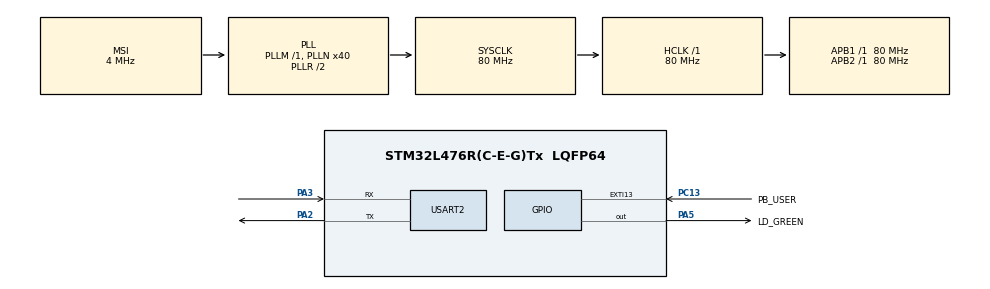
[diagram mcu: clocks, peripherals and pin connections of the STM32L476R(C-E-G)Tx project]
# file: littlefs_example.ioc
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Mcu.Family=STM32L4
Mcu.Name=STM32L476R(C-E-G)Tx
Mcu.Package=LQFP64
NVIC.EXTI15_10_IRQn=true\:0\:0\:false\:false\:true\:true\:true\:true
NVIC.PriorityGroup=NVIC_PRIORITYGROUP_4
PA2.Mode=Asynchronous
PA2.Signal=USART2_TX
PA3.Mode=Asynchronous
PA3.Signal=USART2_RX
PA5.GPIO_Label=LD_GREEN
PA5.Signal=GPIO_Output
PC13.GPIO_Label=PB_USER
PC13.Signal=GPXTI13
PH0-OSC_IN\ (PH0).Mode=HSE-External-Oscillator
PH0-OSC_IN\ (PH0).Signal=RCC_OSC_IN
PH1-OSC_OUT\ (PH1).Mode=HSE-External-Oscillator
PH1-OSC_OUT\ (PH1).Signal=RCC_OSC_OUT
ProjectManager.HeapSize=0x200
ProjectManager.StackSize=0x400
ProjectManager.TargetToolchain=CMake
RCC.AHBFreq_Value=80000000
RCC.APB1Freq_Value=80000000
RCC.APB1TimFreq_Value=80000000
RCC.APB2Freq_Value=80000000
RCC.APB2TimFreq_Value=80000000
RCC.CortexFreq_Value=80000000
RCC.HCLKFreq_Value=80000000
RCC.HSE_VALUE=8000000
RCC.HSI_VALUE=16000000
RCC.LSE_VALUE=32768
RCC.MSI_VALUE=4000000
RCC.PLLN=40
RCC.SYSCLKFreq_VALUE=80000000
RCC.SYSCLKSource=RCC_SYSCLKSOURCE_PLLCLK
RCC.VCOOutputFreq_Value=160000000
USART2.VirtualMode-Asynchronous=VM_ASYNC
board=custom

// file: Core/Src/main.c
/* USER CODE BEGIN Header */
/**
  ******************************************************************************
  * @file           : main.c
  * @brief          : Main program body
  ******************************************************************************
  * @attention
  *
  * Copyright (c) 2024 STMicroelectronics.
  * All rights reserved.
  *
  * This software is licensed under terms that can be found in the LICENSE file
  * in the root directory of this software component.
  * If no LICENSE file comes with this software, it is provided AS-IS.
  *
  ******************************************************************************
  */
/* USER CODE END Header */
#include "main.h"

/* USER CODE BEGIN Includes */
#include <stdio.h>
#include "lfs.h"
/* USER CODE END Includes */

/* USER CODE BEGIN PD */
#define LITTLEFS_SECTOR_START 0x08040000
#define STM32L476_SECTOR_SIZE 0x800 //(2048 bytes)

#define FLASH_START_ADDRESS 0x08000000
#define FLASH_END_ADDRESS   0x08100000
#define PAGE_SIZE           2048

// Constants defined by the TRM, section 3.3.1
#define FLASH_BLOCK_SIZE 2048  // Flash block size in bytes
#define FLASH_MAX_BLOCKS 512   // Total number of available blocks

// Tunable constants
#define LFS_BLOCKS 9     // Number of blocks to use
#define LFS_BUF_SIZE 64  // Buffer size used for reads, writes, and cache
#define LFS_MAX_FDS 6    // Maximum number of opened files / dirs

#define PARAMETER_NOT_USED(p) (void) ((p))
/* USER CODE END PD */

UART_HandleTypeDef huart2;

/* USER CODE BEGIN PV */
// variables used by the filesystem
lfs_t lfs;
lfs_file_t file;
/* USER CODE END PV */

void SystemClock_Config(void);
static void MX_GPIO_Init(void);
static void MX_USART2_UART_Init(void);
/* USER CODE BEGIN PFP */
int getFlashPageNumber(uint32_t address);
void hexdump(const void *buffer, size_t length);

#define PUTCHAR_PROTOTYPE int __io_putchar(int ch)

int lfs_driver_read(const struct lfs_config *cfg, lfs_block_t block,
                           lfs_off_t off, void *buf, lfs_size_t len);
int lfs_driver_prog(const struct lfs_config *cfg, lfs_block_t block,
                           lfs_off_t off, const void *buf, lfs_size_t len);
int lfs_driver_erase(const struct lfs_config *cfg, lfs_block_t block);
int lfs_driver_sync(const struct lfs_config *cfg);

/* USER CODE END PFP */

/* USER CODE BEGIN 0 */
void HAL_GPIO_EXTI_Callback(uint16_t GPIO_Pin)
{
  /* Prevent unused argument(s) compilation warning */
  if(GPIO_Pin == PB_USER_Pin)
    printf("Button Pressed.\r\n");

  /* NOTE: This function should not be modified, when the callback is needed,
           the HAL_GPIO_EXTI_Callback could be implemented in the user file
   */
}

/**
 * @brief Dumps the contents of a buffer in hexadecimal format.
 *
 * @param buffer Pointer to the buffer to be dumped.
 * @param length Length of the buffer in bytes.
 */
void hexdump(const void *buffer, size_t length) {
    const unsigned char *buf = (const unsigned char *)buffer;

    for (size_t i = 0; i < length; i += 16) {
        // Print the offset
        printf("%08zx  ", i);

        // Print hex values for the next 16 bytes
        for (size_t j = 0; j < 16; j++) {
            if (i + j < length) {
                printf("%02x ", buf[i + j]);
            } else {
                printf("   "); // For alignment of the ASCII section
            }
        }

        // Print ASCII characters for the next 16 bytes
        printf(" |");
        for (size_t j = 0; j < 16; j++) {
            if (i + j < length) {
                unsigned char c = buf[i + j];
                // Check if the byte is a printable character
                if (c >= 32 && c <= 126) {
                    printf("%c", c);
                } else {
                    printf("."); // Non-printable characters are replaced with '.'
                }
            }
        }
        printf("|\n");
    }
}

/**
 * @brief Calculate the flash page number for a given address.
 *
 * @param address The address to calculate the page number for.
 * @return The page number corresponding to the address, or -1 if the address is out of range.
 */
int getFlashPageNumber(uint32_t address) {
    // Check if the address is within the valid flash range
    if (address < FLASH_START_ADDRESS || address >= FLASH_END_ADDRESS) {
        return -1; // Invalid address
    }

    // Calculate the page number
    int pageNumber = (address - FLASH_START_ADDRESS) / PAGE_SIZE;

    return pageNumber;
}

// configuration of the filesystem is provided by this struct
const struct lfs_config cfg = {
    // block device operations
    .read  = lfs_driver_read,
    .prog  = lfs_driver_prog,
    .erase = lfs_driver_erase,
    .sync  = lfs_driver_sync,

    // block device configuration
    .read_size = LFS_BUF_SIZE,
    .prog_size = LFS_BUF_SIZE,
    .block_size = FLASH_BLOCK_SIZE,
    .block_count = LFS_BLOCKS,
    .cache_size = LFS_BUF_SIZE,
    .lookahead_size = LFS_BUF_SIZE/2,
    .block_cycles = 200,
};
/* USER CODE END 0 */

int main(void)
{

  /* MCU Configuration--------------------------------------------------------*/

  /* Reset of all peripherals, Initializes the Flash interface and the Systick. */
  HAL_Init();

  /* Configure the system clock */
  SystemClock_Config();

  /* Initialize all configured peripherals */
  MX_GPIO_Init();
  MX_USART2_UART_Init();
  /* USER CODE BEGIN 2 */
  printf("---LittleFS Example---\r\n");

  // mount the filesystem
  int err = lfs_mount(&lfs, &cfg);

  // reformat if we can't mount the filesystem
  // this should only happen on the first boot
  if (err) {
      lfs_format(&lfs, &cfg);
      lfs_mount(&lfs, &cfg);
  }

  // read current count
  uint32_t boot_count = 0;
  lfs_file_open(&lfs, &file, "boot_count", LFS_O_RDWR | LFS_O_CREAT);
  lfs_file_read(&lfs, &file, &boot_count, sizeof(boot_count));

  // update boot count
  boot_count += 1;
  lfs_file_rewind(&lfs, &file);
  lfs_file_write(&lfs, &file, &boot_count, sizeof(boot_count));

  // remember the storage is not updated until the file is closed successfully
  lfs_file_close(&lfs, &file);

  // release any resources we were using
  lfs_unmount(&lfs);

  // print the boot count
  printf("boot_count: %ld\r\n", boot_count);
  /* USER CODE END 2 */

  /* Infinite loop */
  /* USER CODE BEGIN WHILE */
  while (1)
  {
    HAL_GPIO_TogglePin(LD_GREEN_GPIO_Port,LD_GREEN_Pin);
    HAL_Delay(500);
    /* USER CODE END WHILE */

  }
}

void SystemClock_Config(void)
{
  RCC_OscInitTypeDef RCC_OscInitStruct = {0};
  RCC_ClkInitTypeDef RCC_ClkInitStruct = {0};

  /** Configure the main internal regulator output voltage
  */
  if (HAL_PWREx_ControlVoltageScaling(PWR_REGULATOR_VOLTAGE_SCALE1) != HAL_OK)
  {
    Error_Handler();
  }

  /** Initializes the RCC Oscillators according to the specified parameters
  * in the RCC_OscInitTypeDef structure.
  */
  RCC_OscInitStruct.OscillatorType = RCC_OSCILLATORTYPE_MSI;
  RCC_OscInitStruct.MSIState = RCC_MSI_ON;
  RCC_OscInitStruct.MSICalibrationValue = 0;
  RCC_OscInitStruct.MSIClockRange = RCC_MSIRANGE_6;
  RCC_OscInitStruct.PLL.PLLState = RCC_PLL_ON;
  RCC_OscInitStruct.PLL.PLLSource = RCC_PLLSOURCE_MSI;
  RCC_OscInitStruct.PLL.PLLM = 1;
  RCC_OscInitStruct.PLL.PLLN = 40;
  RCC_OscInitStruct.PLL.PLLP = RCC_PLLP_DIV7;
  RCC_OscInitStruct.PLL.PLLQ = RCC_PLLQ_DIV2;
  RCC_OscInitStruct.PLL.PLLR = RCC_PLLR_DIV2;
  if (HAL_RCC_OscConfig(&RCC_OscInitStruct) != HAL_OK)
  {
    Error_Handler();
  }

  /** Initializes the CPU, AHB and APB buses clocks
  */
  RCC_ClkInitStruct.ClockType = RCC_CLOCKTYPE_HCLK|RCC_CLOCKTYPE_SYSCLK
                              |RCC_CLOCKTYPE_PCLK1|RCC_CLOCKTYPE_PCLK2;
  RCC_ClkInitStruct.SYSCLKSource = RCC_SYSCLKSOURCE_PLLCLK;
  RCC_ClkInitStruct.AHBCLKDivider = RCC_SYSCLK_DIV1;
  RCC_ClkInitStruct.APB1CLKDivider = RCC_HCLK_DIV1;
  RCC_ClkInitStruct.APB2CLKDivider = RCC_HCLK_DIV1;

  if (HAL_RCC_ClockConfig(&RCC_ClkInitStruct, FLASH_LATENCY_4) != HAL_OK)
  {
    Error_Handler();
  }
}

static void MX_USART2_UART_Init(void)
{

  huart2.Instance = USART2;
  huart2.Init.BaudRate = 115200;
  huart2.Init.WordLength = UART_WORDLENGTH_8B;
  huart2.Init.StopBits = UART_STOPBITS_1;
  huart2.Init.Parity = UART_PARITY_NONE;
  huart2.Init.Mode = UART_MODE_TX_RX;
  huart2.Init.HwFlowCtl = UART_HWCONTROL_NONE;
  huart2.Init.OverSampling = UART_OVERSAMPLING_16;
  huart2.Init.OneBitSampling = UART_ONE_BIT_SAMPLE_DISABLE;
  huart2.AdvancedInit.AdvFeatureInit = UART_ADVFEATURE_NO_INIT;
  if (HAL_UART_Init(&huart2) != HAL_OK)
  {
    Error_Handler();
  }

}

static void MX_GPIO_Init(void)
{
  GPIO_InitTypeDef GPIO_InitStruct = {0};

  /* GPIO Ports Clock Enable */
  __HAL_RCC_GPIOC_CLK_ENABLE();
  __HAL_RCC_GPIOH_CLK_ENABLE();
  __HAL_RCC_GPIOA_CLK_ENABLE();

  /*Configure GPIO pin Output Level */
  HAL_GPIO_WritePin(LD_GREEN_GPIO_Port, LD_GREEN_Pin, GPIO_PIN_RESET);

  /*Configure GPIO pin : PB_USER_Pin */
  GPIO_InitStruct.Pin = PB_USER_Pin;
  GPIO_InitStruct.Mode = GPIO_MODE_IT_RISING;
  GPIO_InitStruct.Pull = GPIO_NOPULL;
  HAL_GPIO_Init(PB_USER_GPIO_Port, &GPIO_InitStruct);

  /*Configure GPIO pin : LD_GREEN_Pin */
  GPIO_InitStruct.Pin = LD_GREEN_Pin;
  GPIO_InitStruct.Mode = GPIO_MODE_OUTPUT_PP;
  GPIO_InitStruct.Pull = GPIO_NOPULL;
  GPIO_InitStruct.Speed = GPIO_SPEED_FREQ_LOW;
  HAL_GPIO_Init(LD_GREEN_GPIO_Port, &GPIO_InitStruct);

  /* EXTI interrupt init*/
  HAL_NVIC_SetPriority(EXTI15_10_IRQn, 0, 0);
  HAL_NVIC_EnableIRQ(EXTI15_10_IRQn);

}

/* USER CODE BEGIN 4 */
int lfs_driver_read(const struct lfs_config *cfg, lfs_block_t block,
                           lfs_off_t off, void *buf, lfs_size_t len) {
	PARAMETER_NOT_USED(cfg);

	if(!buf || !len) {
		printf("%s Invalid parameter!\r\n",__func__);
		return LFS_ERR_INVAL;
	}

	lfs_block_t address = LITTLEFS_SECTOR_START + (block * STM32L476_SECTOR_SIZE + off);
	//printf("+%s(Addr 0x%06lX, Len 0x%04lX)\r\n",__func__,address,len);
	//hexdump((void *)address,len);
	memcpy(buf, (void *)address, len);

	return LFS_ERR_OK;
}

int lfs_driver_prog(const struct lfs_config *cfg, lfs_block_t block,
                           lfs_off_t off, const void *buf, lfs_size_t len) {
	PARAMETER_NOT_USED(cfg);
	lfs_block_t address = LITTLEFS_SECTOR_START + (block * STM32L476_SECTOR_SIZE + off);
	HAL_StatusTypeDef hal_rc = HAL_OK;
	uint32_t block_count = len / 8;

	//printf("+%s(Addr 0x%06lX, Len 0x%04lX)\r\n",__func__,address,len);
	//hexdump((void *)address,len);
  /* Program the user Flash area word by word
  (area defined by FLASH_USER_START_ADDR and FLASH_USER_END_ADDR) ***********/
  HAL_FLASH_Unlock();

  uint64_t data_source;

  for(uint32_t i=0;i<block_count;i++)
  {
    memcpy(&data_source,buf,8); // load the 64-bit source from the buffer
    hal_rc = HAL_FLASH_Program(FLASH_TYPEPROGRAM_DOUBLEWORD, address, data_source);
    if (hal_rc == HAL_OK)
    {
      address += 8;
      buf = (uint8_t *)buf + 8;
    }
    else
    {
      /* Error occurred while writing data in Flash memory.
        User can add here some code to deal with this error */
      printf("Program Error, 0x%X\r\n",hal_rc);

    } // else
  } // for
  //printf("-%s\n",__func__);

  HAL_FLASH_Lock();
  return hal_rc == HAL_OK?LFS_ERR_OK:LFS_ERR_IO; // If HAL_OK, return LFS_ERR_OK, else return LFS_ERR_IO
}

int lfs_driver_erase(const struct lfs_config *cfg, lfs_block_t block) {
	PARAMETER_NOT_USED(cfg);
	lfs_block_t address = LITTLEFS_SECTOR_START + (block * STM32L476_SECTOR_SIZE);
	//printf("+%s(Addr 0x%06lX)\r\n",__func__,address);

	HAL_StatusTypeDef hal_rc;
	FLASH_EraseInitTypeDef EraseInitStruct;
	uint32_t PAGEError = 0;

  HAL_FLASH_Unlock();

	/* Fill EraseInit structure*/
	EraseInitStruct.TypeErase   = FLASH_TYPEERASE_PAGES;
	EraseInitStruct.Page = getFlashPageNumber(address);
	EraseInitStruct.NbPages     = 1;
	hal_rc = HAL_FLASHEx_Erase(&EraseInitStruct, &PAGEError);
	if (hal_rc != HAL_OK)
	{
		printf("%s ERROR 0x%X\r\n",__func__,hal_rc);
	}
	else
		printf("%s SUCCESS\r\n",__func__);

  HAL_FLASH_Lock();
  return hal_rc == HAL_OK?LFS_ERR_OK:LFS_ERR_IO; // If HAL_OK, return LFS_ERR_OK, else return LFS_ERR_IO
}

int lfs_driver_sync(const struct lfs_config *cfg) {
  PARAMETER_NOT_USED(cfg);
  // write function performs no caching.  No need for sync.
  //printf("+%s()\r\n",__func__);
  return LFS_ERR_OK;
  //return LFS_ERR_IO;
}

/**
  * @brief  Retargets the C library printf function to the USART.
  *   None
  * @retval None
  */
PUTCHAR_PROTOTYPE
{
  /* Place your implementation of fputc here */
  /* e.g. write a character to the USART1 and Loop until the end of transmission */
  HAL_UART_Transmit(&huart2, (uint8_t *)&ch, 1, 0xFFFF);

  return ch;
}
/* USER CODE END 4 */

void Error_Handler(void)
{
  __disable_irq();
  while (1)
  {
  }
}
